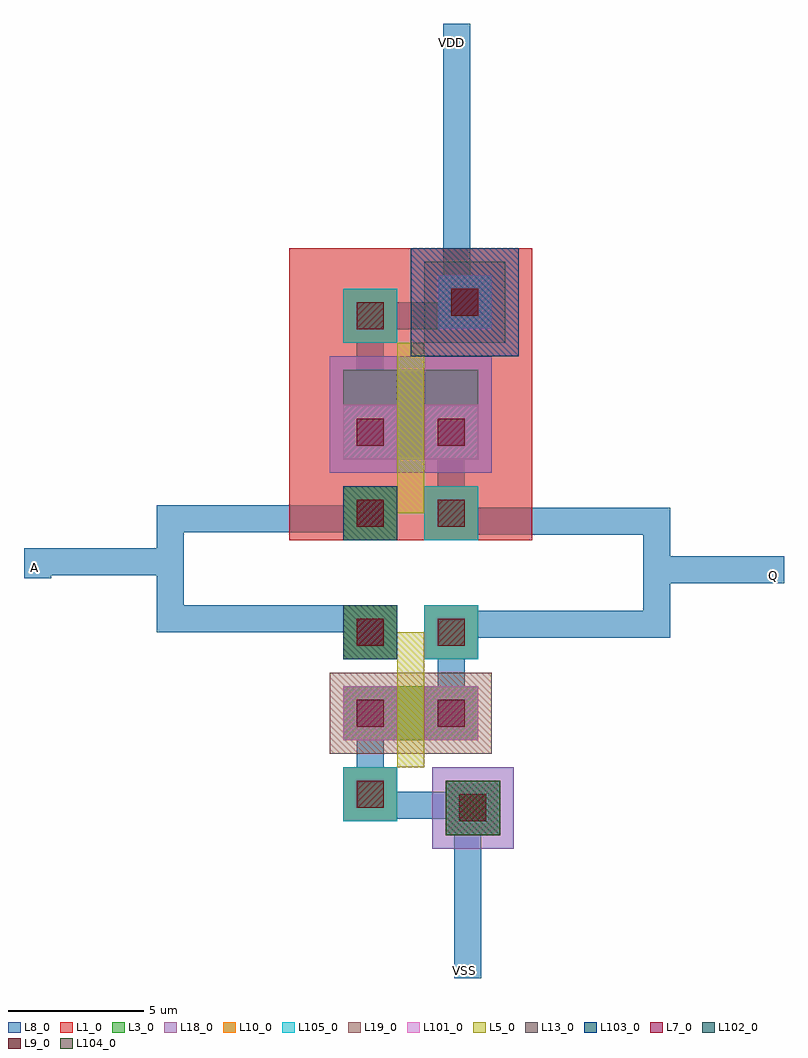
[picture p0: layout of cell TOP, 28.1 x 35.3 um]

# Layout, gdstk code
import gdstk
lib = gdstk.Library(unit=1e-6, precision=1e-07)
def R(c, l, rs):  # rectangles x0, y0, x1, y1
    for r in rs: c.add(gdstk.rectangle(r[:2], r[2:], *l))
def P(c, l, *ps):  # polygons
    for p in ps: c.add(gdstk.Polygon(p, *l))
L1_0 = (1, 0)
L3_0 = (3, 0)
L5_0 = (5, 0)
L7_0 = (7, 0)
L8_0 = (8, 0)
L9_0 = (9, 0)
L10_0 = (10, 0)
L13_0 = (13, 0)
L18_0 = (18, 0)
L19_0 = (19, 0)
L101_0 = (101, 0)
L102_0 = (102, 0)
L103_0 = (103, 0)
L104_0 = (104, 0)
L105_0 = (105, 0)

dcont = lib.new_cell('dcont')
R(dcont, L3_0, [(-1,-1,1,1)])
R(dcont, L7_0, [(-0.5,-0.5,0.5,0.5)])
R(dcont, L8_0, [(-1,-1,1,1)])
R(dcont, L13_0, [(-0.5,-0.5,0.5,0.5)])
R(dcont, L101_0, [(-1,-1,1,1)])

pcont = lib.new_cell('pcont')
R(pcont, L5_0, [(-1,-1,1,1)])
R(pcont, L7_0, [(-0.5,-0.5,0.5,0.5)])
R(pcont, L8_0, [(-1,-1,1,1)])
R(pcont, L13_0, [(-0.5,-0.5,0.5,0.5)])
R(pcont, L102_0, [(-1,-1,1,1)])

via = lib.new_cell('Via')
R(via, L8_0, [(-1,-1,1,1)])
R(via, L9_0, [(-0.5,-0.5,0.5,0.5)])
R(via, L10_0, [(-1,-1,1,1)])
R(via, L13_0, [(-0.5,-0.5,0.5,0.5)])
R(via, L105_0, [(-1,-1,1,1)])

dcont1 = lib.new_cell('dcont1')
R(dcont1, L3_0, [(-1,-1,1,1)])
R(dcont1, L7_0, [(-0.5,-0.5,0.5,0.5)])
R(dcont1, L8_0, [(-1,-1,1,1)])
R(dcont1, L13_0, [(-0.5,-0.5,0.5,0.5)])
R(dcont1, L101_0, [(-1,-1,1,1)])

nsubcont = lib.new_cell('nsubcont')
R(nsubcont, L1_0, [(-2,-2,2,2)])
R(nsubcont, L19_0, [(-1.5,-1.5,1.5,1.5)])
R(nsubcont, L103_0, [(-2,-2,2,2)])
nsubcont.add(gdstk.Reference(dcont1, (0,0)))

pch_2 = lib.new_cell('Pch$2')
R(pch_2, L1_0, [(-2,0,7,10.8)])
R(pch_2, L3_0, [(0,3,5,6.3)])
R(pch_2, L18_0, [(-0.5,2.5,5.5,6.8)])
pch_2.add(gdstk.FlexPath([(1,3),(1,6.3)], 2, ends="flush", simple_path=True, layer=8, datatype=0))  # L8_0
pch_2.add(gdstk.FlexPath([(4,3),(4,6.3)], 2, ends="flush", simple_path=True, layer=8, datatype=0))  # L8_0
pch_2.add(gdstk.FlexPath([(1,5.3),(1,8.3)], 1, ends="flush", simple_path=True, layer=8, datatype=0))  # L8_0
pch_2.add(gdstk.FlexPath([(4,1),(4,4)], 1, ends="flush", simple_path=True, layer=8, datatype=0))  # L8_0
pch_2.add(gdstk.FlexPath([(2.5,3),(2.5,6.3)], 1, ends=(1, 1), simple_path=True, layer=5, datatype=0))  # L5_0
pch_2.add(gdstk.FlexPath([(1,1.5),(2.5,1.5),(2.5,2)], 1, ends="flush", simple_path=True, layer=5, datatype=0))  # L5_0
pch_2.add(gdstk.Reference(dcont, (1,4)))
pch_2.add(gdstk.Reference(dcont, (4,4)))
pch_2.add(gdstk.Reference(pcont, (1,1)))
pch_2.add(gdstk.Reference(via, (1,1)))
pch_2.add(gdstk.Reference(via, (1,8.3)))
pch_2.add(gdstk.Reference(via, (4,1)))
pch_2.add(gdstk.Reference(nsubcont, (4.5,8.8)))
pch_2.add(gdstk.Reference(via, (4.5,8.8)))

psubcont = lib.new_cell('psubcont')
R(psubcont, L18_0, [(-1.5,-1.5,1.5,1.5)])
R(psubcont, L104_0, [(-1,-1,1,1)])
psubcont.add(gdstk.Reference(dcont1, (0,0)))

nch_1 = lib.new_cell('Nch$1')
R(nch_1, L3_0, [(0,3,5,5)])
R(nch_1, L19_0, [(-0.5,2.5,5.5,5.5)])
nch_1.add(gdstk.FlexPath([(1,3),(1,5)], 2, ends="flush", simple_path=True, layer=8, datatype=0))  # L8_0
nch_1.add(gdstk.FlexPath([(4,3),(4,5)], 2, ends="flush", simple_path=True, layer=8, datatype=0))  # L8_0
nch_1.add(gdstk.FlexPath([(1,1),(1,4)], 1, ends="flush", simple_path=True, layer=8, datatype=0))  # L8_0
nch_1.add(gdstk.FlexPath([(4,4),(4,7)], 1, ends="flush", simple_path=True, layer=8, datatype=0))  # L8_0
nch_1.add(gdstk.FlexPath([(2.5,3),(2.5,5)], 1, ends=(1, 1), simple_path=True, layer=5, datatype=0))  # L5_0
nch_1.add(gdstk.FlexPath([(1,6.5),(2.5,6.5),(2.5,6)], 1, ends="flush", simple_path=True, layer=5, datatype=0))  # L5_0
nch_1.add(gdstk.Reference(dcont, (1,4)))
nch_1.add(gdstk.Reference(dcont, (4,4)))
nch_1.add(gdstk.Reference(pcont, (1,7)))
nch_1.add(gdstk.Reference(via, (1,7)))
nch_1.add(gdstk.Reference(via, (1,1)))
nch_1.add(gdstk.Reference(via, (4,7)))
nch_1.add(gdstk.Reference(psubcont, (4.8,0.5)))
nch_1.add(gdstk.Reference(via, (4.8,0.5)))

top = lib.new_cell('TOP')
P(top, L8_0, [(29.1,10.3),(29.1,10.3),(29.5,10.3),(29.5,10.3)])
top.add(gdstk.FlexPath([(18.1,9.9),(10.6,9.9),(10.6,6.2),(18.4,6.2)], 1, ends="flush", simple_path=True, layer=8, datatype=0))  # L8_0
top.add(gdstk.FlexPath([(10.6,8.3),(5.7,8.3),(5.7,7.7)], 1, ends="flush", simple_path=True, layer=8, datatype=0))  # L8_0
top.add(gdstk.FlexPath([(28.5,8),(33.3,8)], 1, ends="flush", simple_path=True, layer=8, datatype=0))  # L8_0
top.add(gdstk.FlexPath([(21.2,9.8),(28.6,9.8),(28.6,6),(21.2,6),(21.2,5.7)], 1, ends="flush", simple_path=True, layer=8, datatype=0))  # L8_0
top.add(gdstk.FlexPath([(18,17.4),(21.2,17.4),(21.2,28.2)], 1, ends="flush", simple_path=True, layer=8, datatype=0))  # L8_0
top.add(gdstk.FlexPath([(17.8,-0.7),(21.6,-0.7),(21.6,-7.1)], 1, ends="flush", simple_path=True, layer=8, datatype=0))  # L8_0
top.add(gdstk.Reference(pch_2, (17,9.1)))
top.add(gdstk.Reference(nch_1, (17,-1.3)))
top.add(gdstk.Label('A', (5.6,8.1), layer=8, texttype=0))
top.add(gdstk.Label('Q', (32.9,7.8), layer=8, texttype=0))
top.add(gdstk.Label('VDD', (21,27.5), layer=8, texttype=0))
top.add(gdstk.Label('VSS', (21.5,-6.8), layer=8, texttype=0))

lib.write_gds('TOP.gds')
